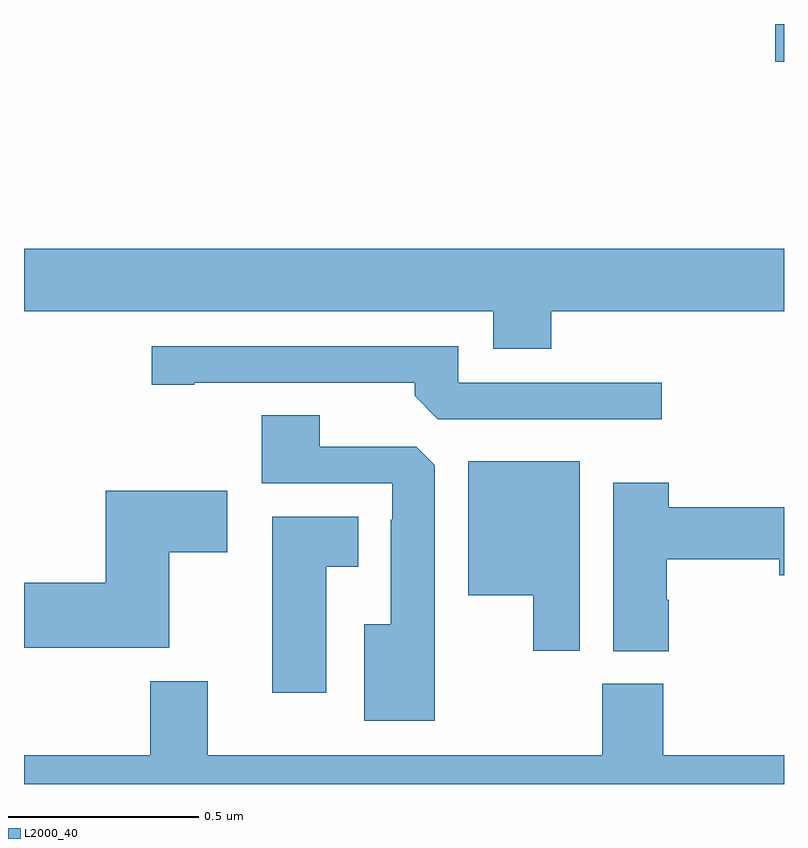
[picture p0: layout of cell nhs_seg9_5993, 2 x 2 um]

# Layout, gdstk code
import gdstk
lib = gdstk.Library(unit=1e-6, precision=1e-09)
def R(c, l, rs):  # rectangles x0, y0, x1, y1
    for r in rs: c.add(gdstk.rectangle(r[:2], r[2:], *l))
def P(c, l, *ps):  # polygons
    for p in ps: c.add(gdstk.Polygon(p, *l))
L2000_40 = (2000, 40)

nhs_seg9_5993 = lib.new_cell('nhs_seg9_5993')
R(nhs_seg9_5993, L2000_40, [(187.977,1206.401,188,1206.5)])
P(nhs_seg9_5993, L2000_40, [(187.388,1205.744),(188,1205.744),(188,1205.908),(186,1205.908),(186,1205.744),(187.235,1205.744),(187.235,1205.645),(187.388,1205.645)],
  [(187.678,1205.556),(187.143,1205.556),(187.143,1205.652),(186.336,1205.652),(186.336,1205.551),(186.448,1205.551),(186.448,1205.556),(187.028,1205.556),(187.028,1205.522),(187.089,1205.46),(187.678,1205.46)],
  [(187.081,1205.339),(187.032,1205.388),(186.778,1205.388),(186.778,1205.471),(186.626,1205.471),(186.626,1205.292),(186.969,1205.292),(186.969,1205.195),(186.965,1205.195),(186.965,1204.921),(186.896,1204.921),(186.896,1204.667),(187.081,1204.667)],
  [(187.462,1205.35),(187.169,1205.35),(187.169,1204.997),(187.34,1204.997),(187.34,1204.851),(187.462,1204.851)],
  [(187.697,1204.985),(187.692,1204.985),(187.692,1205.092),(187.988,1205.092),(187.988,1205.05),(188,1205.05),(188,1205.228),(187.697,1205.228),(187.697,1205.293),(187.55,1205.293),(187.55,1204.849),(187.697,1204.849)],
  [(186.382,1205.11),(186.535,1205.11),(186.535,1205.272),(186.215,1205.272),(186.215,1205.03),(186,1205.03),(186,1204.859),(186.382,1204.859)],
  [(186.796,1205.072),(186.88,1205.072),(186.88,1205.203),(186.653,1205.203),(186.653,1204.74),(186.796,1204.74)],
  [(186.332,1204.771),(186.332,1204.576),(186,1204.576),(186,1204.5),(188,1204.5),(188,1204.576),(187.682,1204.576),(187.682,1204.764),(187.522,1204.764),(187.522,1204.576),(186.484,1204.576),(186.484,1204.771)])

lib.write_gds('nhs_seg9_5993.gds')
